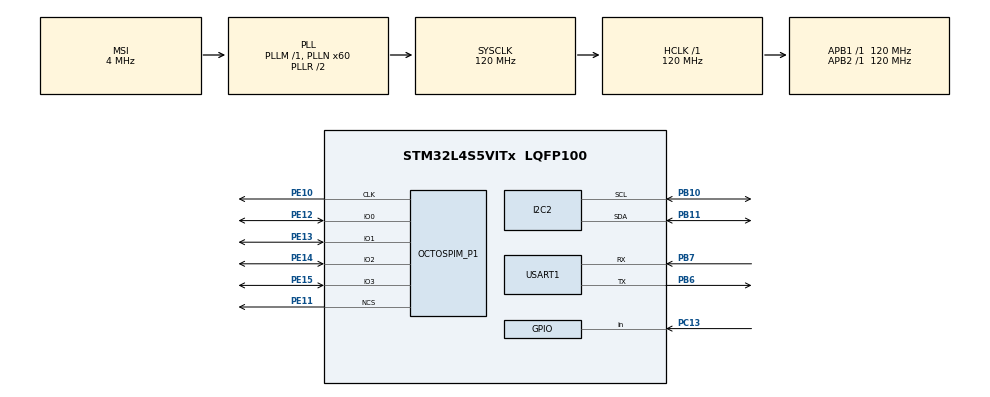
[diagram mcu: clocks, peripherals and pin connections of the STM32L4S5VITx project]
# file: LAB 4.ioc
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FREERTOS.Tasks01=sensorTask,0,128,StartSensorTask,Default,NULL,Dynamic,NULL,NULL;uartTask,0,256,StartUartTask,Default,NULL,Dynamic,NULL,NULL;buttonTask,0,128,StartButtonTask,Default,NULL,Dynamic,NULL,NULL
I2C2.Timing=0x30A175AB
Mcu.Family=STM32L4
Mcu.Name=STM32L4S5VITx
Mcu.Package=LQFP100
NVIC.PriorityGroup=NVIC_PRIORITYGROUP_4
NVIC.TIM6_DAC_IRQn=true\:15\:0\:false\:false\:true\:false\:false\:true\:true
NVIC.TimeBase=TIM6_DAC_IRQn
NVIC.TimeBaseIP=TIM6
PB10.Mode=I2C
PB10.Signal=I2C2_SCL
PB11.Mode=I2C
PB11.Signal=I2C2_SDA
PB6.Mode=Asynchronous
PB6.Signal=USART1_TX
PB7.Mode=Asynchronous
PB7.Signal=USART1_RX
PC13.Signal=GPIO_Input
PE10.Mode=O1_P1_CLK
PE10.Signal=OCTOSPIM_P1_CLK
PE11.Mode=OCTOSPI1_Port1_NCS
PE11.Signal=OCTOSPIM_P1_NCS
PE12.Mode=OCTOSPI1_IOL_Port1L
PE12.Signal=OCTOSPIM_P1_IO0
PE13.Mode=OCTOSPI1_IOL_Port1L
PE13.Signal=OCTOSPIM_P1_IO1
PE14.Mode=OCTOSPI1_IOL_Port1L
PE14.Signal=OCTOSPIM_P1_IO2
PE15.Mode=OCTOSPI1_IOL_Port1L
PE15.Signal=OCTOSPIM_P1_IO3
ProjectManager.HeapSize=0x200
ProjectManager.StackSize=0x400
ProjectManager.TargetToolchain=STM32CubeIDE
RCC.ADCFreq_Value=48000000
RCC.AHBFreq_Value=120000000
RCC.APB1Freq_Value=120000000
RCC.APB1TimFreq_Value=120000000
RCC.APB2Freq_Value=120000000
RCC.APB2TimFreq_Value=120000000
RCC.CortexFreq_Value=120000000
RCC.HCLKFreq_Value=120000000
RCC.HSE_VALUE=8000000
RCC.HSI48_VALUE=48000000
RCC.HSI_VALUE=16000000
RCC.LSE_VALUE=32768
RCC.MSI_VALUE=4000000
RCC.PLLN=60
RCC.PLLSAI1N=24
RCC.SYSCLKFreq_VALUE=120000000
RCC.SYSCLKSource=RCC_SYSCLKSOURCE_PLLCLK
RCC.USBFreq_Value=48000000
RCC.VCOOutputFreq_Value=240000000
USART1.VirtualMode-Asynchronous=VM_ASYNC
VP_FREERTOS_VS_CMSIS_V1.Mode=CMSIS_V1
VP_OCTOSPI1_VS_quad.Mode=quad_mode
VP_SYS_VS_tim6.Mode=TIM6
board=B-L4S5I-IOT01A

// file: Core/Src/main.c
/* USER CODE BEGIN Header */
/**
  ******************************************************************************
  * @file           : main.c
  * @brief          : Main program body
  ******************************************************************************
  * @attention
  *
  * Copyright (c) 2026 STMicroelectronics.
  * All rights reserved.
  *
  * This software is licensed under terms that can be found in the LICENSE file
  * in the root directory of this software component.
  * If no LICENSE file comes with this software, it is provided AS-IS.
  *
  ******************************************************************************
  */
/* USER CODE END Header */
#include "main.h"
#include "cmsis_os.h"
#include "i2c.h"
#include "octospi.h"
#include "usart.h"
#include "gpio.h"

/* USER CODE BEGIN Includes */
#include <stdio.h>
#include <string.h>
#include <stdint.h>

#include "stm32l4s5i_iot01_hsensor.h"
#include "stm32l4s5i_iot01_magneto.h"
#include "stm32l4s5i_iot01_accelero.h"
#include "stm32l4s5i_iot01_psensor.h"
#include "lab4_flash.h"
/* USER CODE END Includes */

/* USER CODE BEGIN PTD */
typedef enum
{
  DISPLAY_HUMIDITY = 0,
  DISPLAY_MAGNETO,
  DISPLAY_ACCELERO,
  DISPLAY_PRESSURE,
  DISPLAY_STATS,
  DISPLAY_COUNT
} DisplayMode_t;

typedef enum
{
  LOG_SENSOR_HUMIDITY = 0,
  LOG_SENSOR_MAGNETO_X,
  LOG_SENSOR_ACCELERO_X,
  LOG_SENSOR_PRESSURE,
  LOG_SENSOR_COUNT
} LoggedSensorId_t;

typedef struct
{
  uint32_t sampleIndex;
  uint32_t sensorId;
  int32_t value;
} LogRecord_t;

typedef struct
{
  uint32_t count;
  int64_t  sum;
  uint64_t sumSq;
  int32_t  mean;
  int32_t  variance;
} SensorStats_t;
/* USER CODE END PTD */

/* USER CODE BEGIN PD */
/* Blue user button B2 on the B-L4S5I-IOT01A board */
#define USER_BUTTON_PORT GPIOC
#define USER_BUTTON_PIN  GPIO_PIN_13

#define PART4_LOG_BUFFER_RECORDS  16U
#define PART4_READ_CHUNK_RECORDS  4U

#ifndef MX25R6435F_BLOCK_SIZE
#define MX25R6435F_BLOCK_SIZE     0x00010000UL
#endif
/* USER CODE END PD */

/* USER CODE BEGIN PV */
/* These variables are shared by the RTOS tasks in Part 2:
 * - sensorTask updates the latest measurements
 * - buttonTask updates which sensor should be displayed
 * - uartTask reads the current selection and prints it */
static char uartBuf[384];

static DisplayMode_t displayMode = DISPLAY_HUMIDITY;

/* One selected quantity from each sensor */
static float humidity_pct = 0.0f;     /* HTS221 */
static int16_t magXYZ[3] = {0};       /* LIS3MDL */
static int16_t accXYZ[3] = {0};       /* LSM6DSL */
static float pressure_hPa = 0.0f;     /* LPS22HB */

static GPIO_PinState lastButtonState = GPIO_PIN_SET;

/* Part 4 logging / statistics state */
static LogRecord_t  s_logBuffer[PART4_LOG_BUFFER_RECORDS];
static LogRecord_t  s_readChunk[PART4_READ_CHUNK_RECORDS];
static uint32_t     s_logBufferCount = 0U;
static uint32_t     s_sampleSequence = 0U;
static uint32_t     s_totalLoggedRecords = 0U;

static uint32_t     s_flashWriteAddress = LAB4_FLASH_LOG_START_ADDRESS;
static uint32_t     s_flashErasedLimitAddress = LAB4_FLASH_LOG_START_ADDRESS;
static uint32_t     s_flashLimitAddress = 0U;
static uint8_t      s_loggingEnabled = 0U;
static uint8_t      s_statsDirty = 1U;

static SensorStats_t s_stats[LOG_SENSOR_COUNT];
/* USER CODE END PV */

void SystemClock_Config(void);
void MX_FREERTOS_Init(void);
/* USER CODE BEGIN PFP */
static Lab4FlashStatus_t Part4_InitLogging(void);
static void Part4_ResetStats(void);
static int32_t Part4_GetHumidityForLog(void);
static int32_t Part4_GetMagnetoXForLog(void);
static int32_t Part4_GetAcceleroXForLog(void);
static int32_t Part4_GetPressureForLog(void);
static void Part4_LogAppendRecord(uint32_t sampleIndex, LoggedSensorId_t sensorId, int32_t value);
static Lab4FlashStatus_t Part4_EnsureLogCapacity(uint32_t bytesNeeded);
static Lab4FlashStatus_t Part4_FlushLogBuffer(void);
static void Part4_LogCurrentSamples(void);
static void Part4_AccumulateRecord(const LogRecord_t *record);
static void Part4_FinalizeStats(void);
static Lab4FlashStatus_t Part4_RecomputeStatsFromFlash(void);
static void Part4_UpdateStatsIfNeeded(void);
/* USER CODE END PFP */

/* USER CODE BEGIN 0 */
static void Part4_ResetStats(void)
{
  uint32_t i;

  for (i = 0U; i < LOG_SENSOR_COUNT; ++i)
  {
    s_stats[i].count = 0U;
    s_stats[i].sum = 0;
    s_stats[i].sumSq = 0U;
    s_stats[i].mean = 0;
    s_stats[i].variance = 0;
  }
}

static Lab4FlashStatus_t Part4_InitLogging(void)
{
  const QSPI_Info *flashInfo;
  Lab4FlashStatus_t status;

  flashInfo = Lab4Flash_GetInfo();
  if (flashInfo == NULL)
  {
    return LAB4_FLASH_STATUS_NOT_INITIALIZED;
  }

  s_flashLimitAddress = flashInfo->FlashSize;
  s_flashWriteAddress = LAB4_FLASH_LOG_START_ADDRESS;
  s_flashErasedLimitAddress = LAB4_FLASH_LOG_START_ADDRESS;
  s_logBufferCount = 0U;
  s_sampleSequence = 0U;
  s_totalLoggedRecords = 0U;
  s_loggingEnabled = 0U;
  s_statsDirty = 1U;

  Part4_ResetStats();

  status = Lab4Flash_EraseBlock(LAB4_FLASH_LOG_START_ADDRESS);
  if (status != LAB4_FLASH_STATUS_OK)
  {
    return status;
  }

  s_flashErasedLimitAddress = LAB4_FLASH_LOG_START_ADDRESS + MX25R6435F_BLOCK_SIZE;
  s_loggingEnabled = 1U;

  return LAB4_FLASH_STATUS_OK;
}

static int32_t Part4_GetHumidityForLog(void)
{
  return (int32_t)humidity_pct;
}

static int32_t Part4_GetMagnetoXForLog(void)
{
  return (int32_t)magXYZ[0];
}

static int32_t Part4_GetAcceleroXForLog(void)
{
  return (int32_t)accXYZ[0];
}

static int32_t Part4_GetPressureForLog(void)
{
  return (int32_t)pressure_hPa;
}

static void Part4_LogAppendRecord(uint32_t sampleIndex, LoggedSensorId_t sensorId, int32_t value)
{
  if ((s_loggingEnabled == 0U) || (s_logBufferCount >= PART4_LOG_BUFFER_RECORDS))
  {
    return;
  }

  s_logBuffer[s_logBufferCount].sampleIndex = sampleIndex;
  s_logBuffer[s_logBufferCount].sensorId = (uint32_t)sensorId;
  s_logBuffer[s_logBufferCount].value = value;
  s_logBufferCount++;
}

static Lab4FlashStatus_t Part4_EnsureLogCapacity(uint32_t bytesNeeded)
{
  Lab4FlashStatus_t status;

  if ((s_flashWriteAddress + bytesNeeded) > s_flashLimitAddress)
  {
    return LAB4_FLASH_STATUS_RANGE_ERROR;
  }

  while ((s_flashWriteAddress + bytesNeeded) > s_flashErasedLimitAddress)
  {
    if (s_flashErasedLimitAddress >= s_flashLimitAddress)
    {
      return LAB4_FLASH_STATUS_RANGE_ERROR;
    }

    status = Lab4Flash_EraseBlock(s_flashErasedLimitAddress);
    if (status != LAB4_FLASH_STATUS_OK)
    {
      return status;
    }

    s_flashErasedLimitAddress += MX25R6435F_BLOCK_SIZE;
  }

  return LAB4_FLASH_STATUS_OK;
}

static Lab4FlashStatus_t Part4_FlushLogBuffer(void)
{
  Lab4FlashStatus_t status;
  uint32_t bytesToWrite;

  if (s_logBufferCount == 0U)
  {
    return LAB4_FLASH_STATUS_OK;
  }

  bytesToWrite = s_logBufferCount * sizeof(LogRecord_t);
  /* REMOVE for demo
  char dbg[96];
  int dbgLen = snprintf(dbg, sizeof(dbg),
                        "[flash] flush count=%lu bytes=%lu addr=0x%06lX\r\n",
                        (unsigned long)s_logBufferCount,
                        (unsigned long)bytesToWrite,
                        (unsigned long)s_flashWriteAddress);
  if (dbgLen > 0)
  {
    HAL_UART_Transmit(&huart1, (uint8_t *)dbg, (uint16_t)dbgLen, 100);
  }
  */

  status = Part4_EnsureLogCapacity(bytesToWrite);
  if (status != LAB4_FLASH_STATUS_OK)
  {
    s_loggingEnabled = 0U;
    return status;
  }

  status = Lab4Flash_Write(s_flashWriteAddress, (const uint8_t *)s_logBuffer, bytesToWrite);
  if (status != LAB4_FLASH_STATUS_OK)
  {
    s_loggingEnabled = 0U;
    return status;
  }

  s_flashWriteAddress += bytesToWrite;
  s_totalLoggedRecords += s_logBufferCount;
  s_logBufferCount = 0U;
  s_statsDirty = 1U;

  return LAB4_FLASH_STATUS_OK;
}

static void Part4_LogCurrentSamples(void)
{
  uint32_t currentSample;

  if (s_loggingEnabled == 0U)
  {
    return;
  }

  currentSample = s_sampleSequence++;
  Part4_LogAppendRecord(currentSample, LOG_SENSOR_HUMIDITY,   Part4_GetHumidityForLog());
  Part4_LogAppendRecord(currentSample, LOG_SENSOR_MAGNETO_X,  Part4_GetMagnetoXForLog());
  Part4_LogAppendRecord(currentSample, LOG_SENSOR_ACCELERO_X, Part4_GetAcceleroXForLog());
  Part4_LogAppendRecord(currentSample, LOG_SENSOR_PRESSURE,   Part4_GetPressureForLog());

  if (s_logBufferCount >= PART4_LOG_BUFFER_RECORDS)
  {
    if (Part4_FlushLogBuffer() != LAB4_FLASH_STATUS_OK)
    {
      Error_Handler();
    }
  }
}

static void Part4_AccumulateRecord(const LogRecord_t *record)
{
  SensorStats_t *stats;
  int64_t value64;

  if ((record == NULL) || (record->sensorId >= LOG_SENSOR_COUNT))
  {
    return;
  }

  stats = &s_stats[record->sensorId];
  value64 = (int64_t)record->value;

  stats->count++;
  stats->sum += value64;
  stats->sumSq += (uint64_t)(value64 * value64);
}

static void Part4_FinalizeStats(void)
{
  uint32_t i;

  for (i = 0U; i < LOG_SENSOR_COUNT; ++i)
  {
    if (s_stats[i].count > 0U)
    {
      int64_t meanSquared;
      int64_t varianceTerm;

      s_stats[i].mean = (int32_t)(s_stats[i].sum / (int64_t)s_stats[i].count);

      meanSquared = (int64_t)s_stats[i].mean * (int64_t)s_stats[i].mean;
      varianceTerm = ((int64_t)(s_stats[i].sumSq / s_stats[i].count)) - meanSquared;

      if (varianceTerm < 0)
      {
        varianceTerm = 0;
      }

      s_stats[i].variance = (int32_t)varianceTerm;
    }
    else
    {
      s_stats[i].mean = 0;
      s_stats[i].variance = 0;
    }
  }
}

static Lab4FlashStatus_t Part4_RecomputeStatsFromFlash(void)
{
  Lab4FlashStatus_t status;
  uint32_t address;
  uint32_t remainingRecords;

  /* REMOVE for demo
  const char *msg = "[stats] recompute start\r\n";
  HAL_UART_Transmit(&huart1, (uint8_t *)msg, (uint16_t)strlen(msg), 100);
  */

  status = Part4_FlushLogBuffer();
  if (status != LAB4_FLASH_STATUS_OK)
  {
    return status;
  }

  Part4_ResetStats();

  address = LAB4_FLASH_LOG_START_ADDRESS;
  remainingRecords = s_totalLoggedRecords;

  while (remainingRecords > 0U)
  {
    uint32_t i;
    uint32_t chunkRecords = (remainingRecords > PART4_READ_CHUNK_RECORDS) ?
                            PART4_READ_CHUNK_RECORDS : remainingRecords;
    uint32_t chunkBytes = chunkRecords * sizeof(LogRecord_t);

    status = Lab4Flash_Read(address, (uint8_t *)s_readChunk, chunkBytes);
    if (status != LAB4_FLASH_STATUS_OK)
    {
      return status;
    }

    for (i = 0U; i < chunkRecords; ++i)
    {
      Part4_AccumulateRecord(&s_readChunk[i]);
    }

    address += chunkBytes;
    remainingRecords -= chunkRecords;
  }

  Part4_FinalizeStats();
  s_statsDirty = 0U;

  /* REMOVE for demo
  const char *msg = "[stats] recompute done\r\n";
  HAL_UART_Transmit(&huart1, (uint8_t *)msg, (uint16_t)strlen(msg), 100);
  */

  return LAB4_FLASH_STATUS_OK;
}

static void Part4_UpdateStatsIfNeeded(void)
{
  if (displayMode == DISPLAY_STATS)
  {
    if ((s_statsDirty != 0U) || (s_logBufferCount > 0U))
    {
      if (Part4_RecomputeStatsFromFlash() != LAB4_FLASH_STATUS_OK)
      {
        Error_Handler();
      }
    }
  }
}

void Sensors_Init(void)
{
  if (BSP_HSENSOR_Init() != 0U)
  {
    Error_Handler();
  }

  if (BSP_MAGNETO_Init() != MAGNETO_OK)
  {
    Error_Handler();
  }

  if (BSP_ACCELERO_Init() != ACCELERO_OK)
  {
    Error_Handler();
  }

  if (BSP_PSENSOR_Init() != 0U)
  {
    Error_Handler();
  }
}

void Sensors_ReadAll(void)
{
  /* CHANGE 5: lightweight heartbeat counter */
  static uint32_t sensorLoopCount = 0U;

  /* HTS221: humidity */
  humidity_pct = BSP_HSENSOR_ReadHumidity();

  /* LIS3MDL: magnetometer X/Y/Z */
  BSP_MAGNETO_GetXYZ(magXYZ);

  /* LSM6DSL: accelerometer X/Y/Z */
  BSP_ACCELERO_AccGetXYZ(accXYZ);

  /* LPS22HB: pressure */
  pressure_hPa = BSP_PSENSOR_ReadPressure();

  /* REMOVE for demo
  sensorLoopCount++;
  if ((sensorLoopCount % 10U) == 0U)
  {
    const char *msg = "[sensorTask] read ok\r\n";
    HAL_UART_Transmit(&huart1, (uint8_t *)msg, (uint16_t)strlen(msg), 100);
  }
  */

  /* Part 4: log all sensor samples, whether displayed or not */
  Part4_LogCurrentSamples();

  /* Only recompute the flash-based statistics when the user is actually in the
   * statistics mode. This keeps the normal live display lightweight. */
  Part4_UpdateStatsIfNeeded();
}

void Handle_Button(void)
{
  GPIO_PinState currentButtonState = HAL_GPIO_ReadPin(USER_BUTTON_PORT, USER_BUTTON_PIN);

  /* B2 is active-low: detect one falling edge per press */
  if ((lastButtonState == GPIO_PIN_SET) && (currentButtonState == GPIO_PIN_RESET))
  {
    displayMode = (DisplayMode_t)((displayMode + 1) % DISPLAY_COUNT);

    /* In Part 2 this function runs inside buttonTask, so we use osDelay()
     * instead of HAL_Delay() to let the scheduler run the other tasks while
     * the switch signal settles. */
    osDelay(20);
    while (HAL_GPIO_ReadPin(USER_BUTTON_PORT, USER_BUTTON_PIN) == GPIO_PIN_RESET)
    {
      osDelay(5);
    }
  }

  lastButtonState = HAL_GPIO_ReadPin(USER_BUTTON_PORT, USER_BUTTON_PIN);
}

void UART_SendSelectedSensor(void)
{
  int len = 0;

  switch (displayMode)
  {
    case DISPLAY_HUMIDITY:
      len = snprintf(uartBuf, sizeof(uartBuf),
                     "HTS221 Humidity = %d %%RH\r\n",
                     (int)humidity_pct);
      break;

    case DISPLAY_MAGNETO:
      len = snprintf(uartBuf, sizeof(uartBuf),
                     "LIS3MDL Mag XYZ = %d, %d, %d\r\n",
                     magXYZ[0], magXYZ[1], magXYZ[2]);
      break;

    case DISPLAY_ACCELERO:
      len = snprintf(uartBuf, sizeof(uartBuf),
                     "LSM6DSL Acc XYZ = %d, %d, %d\r\n",
                     accXYZ[0], accXYZ[1], accXYZ[2]);
      break;

    case DISPLAY_PRESSURE:
      len = snprintf(uartBuf, sizeof(uartBuf),
                     "LPS22HB Pressure = %d hPa\r\n",
                     (int)pressure_hPa);
      break;

    case DISPLAY_STATS:
      if (s_totalLoggedRecords == 0U)
      {
        len = snprintf(uartBuf, sizeof(uartBuf),
                       "Stats: no flash samples logged yet\r\n");
      }
      else if (s_statsDirty != 0U)
      {
        len = snprintf(uartBuf, sizeof(uartBuf),
                       "Stats: computing from flash...\r\n");
      }
      else
      {
        len = snprintf(uartBuf, sizeof(uartBuf),
                       "Flash stats | "
                       "H: N=%lu mean=%ld var=%ld | "
                       "Mx: N=%lu mean=%ld var=%ld | "
                       "Ax: N=%lu mean=%ld var=%ld | "
                       "P: N=%lu mean=%ld var=%ld\r\n",
                       (unsigned long)s_stats[LOG_SENSOR_HUMIDITY].count,
                       (long)s_stats[LOG_SENSOR_HUMIDITY].mean,
                       (long)s_stats[LOG_SENSOR_HUMIDITY].variance,
                       (unsigned long)s_stats[LOG_SENSOR_MAGNETO_X].count,
                       (long)s_stats[LOG_SENSOR_MAGNETO_X].mean,
                       (long)s_stats[LOG_SENSOR_MAGNETO_X].variance,
                       (unsigned long)s_stats[LOG_SENSOR_ACCELERO_X].count,
                       (long)s_stats[LOG_SENSOR_ACCELERO_X].mean,
                       (long)s_stats[LOG_SENSOR_ACCELERO_X].variance,
                       (unsigned long)s_stats[LOG_SENSOR_PRESSURE].count,
                       (long)s_stats[LOG_SENSOR_PRESSURE].mean,
                       (long)s_stats[LOG_SENSOR_PRESSURE].variance);
      }
      break;

    default:
      len = snprintf(uartBuf, sizeof(uartBuf), "Invalid display mode\r\n");
      break;
  }

  if (len > 0)
  {
    HAL_UART_Transmit(&huart1, (uint8_t *)uartBuf, (uint16_t)len, 100);
  }
}

/* USER CODE END 0 */

int main(void)
{

  /* MCU Configuration--------------------------------------------------------*/

  /* Reset of all peripherals, Initializes the Flash interface and the Systick. */
  HAL_Init();

  /* Configure the system clock */
  SystemClock_Config();

  /* Initialize all configured peripherals */
  MX_GPIO_Init();
  MX_I2C2_Init();
  MX_USART1_UART_Init();
  MX_OCTOSPI1_Init();
  /* USER CODE BEGIN 2 */
  const char *msg = "UART alive\r\n";
    HAL_UART_Transmit(&huart1, (uint8_t*)msg, strlen(msg), 100);

    if (Lab4Flash_Init() != LAB4_FLASH_STATUS_OK)
    {
      const char *flashInitError = "QSPI init failed\r\n";
      HAL_UART_Transmit(&huart1, (uint8_t *)flashInitError, (uint16_t)strlen(flashInitError), 100);
      Error_Handler();
    }

    if (Lab4Flash_RunSelfTest() != LAB4_FLASH_STATUS_OK)
    {
      const char *flashTestError = "QSPI erase/write/read test failed\r\n";
      HAL_UART_Transmit(&huart1, (uint8_t *)flashTestError, (uint16_t)strlen(flashTestError), 100);
      Error_Handler();
    }
    else
    {
      const QSPI_Info *flashInfo = Lab4Flash_GetInfo();
      char flashReadyMsg[96];
      int flashReadyLen = snprintf(flashReadyMsg, sizeof(flashReadyMsg),
                                   "QSPI ready. Flash=%luB, page=%luB, log start=0x%06lX\r\n",
                                   (unsigned long)flashInfo->FlashSize,
                                   (unsigned long)flashInfo->ProgPageSize,
                                   (unsigned long)LAB4_FLASH_LOG_START_ADDRESS);

      if (flashReadyLen > 0)
      {
        HAL_UART_Transmit(&huart1, (uint8_t *)flashReadyMsg, (uint16_t)flashReadyLen, 100);
      }
    }

    if (Part4_InitLogging() != LAB4_FLASH_STATUS_OK)
    {
      const char *flashLogError = "Part 4 log region init failed\r\n";
      HAL_UART_Transmit(&huart1, (uint8_t *)flashLogError, (uint16_t)strlen(flashLogError), 100);
      Error_Handler();
    }

    Sensors_Init();

    {
      const char *startupMsg =
          "\r\nFreeRTOS + QSPI startup OK. Press B2 to cycle sensors and flash stats.\r\n";
      HAL_UART_Transmit(&huart1, (uint8_t *)startupMsg, (uint16_t)strlen(startupMsg), 100);
    }
  /* USER CODE END 2 */

  /* Call init function for freertos objects (in cmsis_os2.c) */
  MX_FREERTOS_Init();

  /* Start scheduler */
  osKernelStart();

  /* We should never get here as control is now taken by the scheduler */

  /* Infinite loop */
  /* USER CODE BEGIN WHILE */
  while (1)
  {
    /* After osKernelStart(), application flow is owned by the RTOS scheduler.
     * Reaching this loop would mean the scheduler did not take control. */
    /* USER CODE END WHILE */

  }
}

void SystemClock_Config(void)
{
  RCC_OscInitTypeDef RCC_OscInitStruct = {0};
  RCC_ClkInitTypeDef RCC_ClkInitStruct = {0};

  /** Configure the main internal regulator output voltage
  */
  if (HAL_PWREx_ControlVoltageScaling(PWR_REGULATOR_VOLTAGE_SCALE1_BOOST) != HAL_OK)
  {
    Error_Handler();
  }

  /** Initializes the RCC Oscillators according to the specified parameters
  * in the RCC_OscInitTypeDef structure.
  */
  RCC_OscInitStruct.OscillatorType = RCC_OSCILLATORTYPE_MSI;
  RCC_OscInitStruct.MSIState = RCC_MSI_ON;
  RCC_OscInitStruct.MSICalibrationValue = 0;
  RCC_OscInitStruct.MSIClockRange = RCC_MSIRANGE_6;
  RCC_OscInitStruct.PLL.PLLState = RCC_PLL_ON;
  RCC_OscInitStruct.PLL.PLLSource = RCC_PLLSOURCE_MSI;
  RCC_OscInitStruct.PLL.PLLM = 1;
  RCC_OscInitStruct.PLL.PLLN = 60;
  RCC_OscInitStruct.PLL.PLLP = RCC_PLLP_DIV2;
  RCC_OscInitStruct.PLL.PLLQ = RCC_PLLQ_DIV2;
  RCC_OscInitStruct.PLL.PLLR = RCC_PLLR_DIV2;
  if (HAL_RCC_OscConfig(&RCC_OscInitStruct) != HAL_OK)
  {
    Error_Handler();
  }

  /** Initializes the CPU, AHB and APB buses clocks
  */
  RCC_ClkInitStruct.ClockType = RCC_CLOCKTYPE_HCLK|RCC_CLOCKTYPE_SYSCLK
                              |RCC_CLOCKTYPE_PCLK1|RCC_CLOCKTYPE_PCLK2;
  RCC_ClkInitStruct.SYSCLKSource = RCC_SYSCLKSOURCE_PLLCLK;
  RCC_ClkInitStruct.AHBCLKDivider = RCC_SYSCLK_DIV1;
  RCC_ClkInitStruct.APB1CLKDivider = RCC_HCLK_DIV1;
  RCC_ClkInitStruct.APB2CLKDivider = RCC_HCLK_DIV1;

  if (HAL_RCC_ClockConfig(&RCC_ClkInitStruct, FLASH_LATENCY_5) != HAL_OK)
  {
    Error_Handler();
  }
}

void HAL_TIM_PeriodElapsedCallback(TIM_HandleTypeDef *htim)
{
  if (htim->Instance == TIM6)
  {
    HAL_IncTick();
  }
}

void Error_Handler(void)
{
  __disable_irq();
  while (1)
  {
  }
}

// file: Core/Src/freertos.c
/* USER CODE BEGIN Header */
/**
  ******************************************************************************
  * File Name          : freertos.c
  * Description        : Code for freertos applications
  ******************************************************************************
  * @attention
  *
  * Copyright (c) 2026 STMicroelectronics.
  * All rights reserved.
  *
  * This software is licensed under terms that can be found in the LICENSE file
  * in the root directory of this software component.
  * If no LICENSE file comes with this software, it is provided AS-IS.
  *
  ******************************************************************************
  */
/* USER CODE END Header */

#include "FreeRTOS.h"
#include "task.h"
#include "main.h"
#include "cmsis_os.h"

/* USER CODE BEGIN Includes */
#include "usart.h"
#include <string.h>
#include <stdio.h>
/* USER CODE END Includes */

/* USER CODE BEGIN PD */
/* These delays control how often each Part 2 task wakes up. All three tasks
 * use the same priority, so osDelay() is what spaces their execution out. */
#define SENSOR_TASK_PERIOD_MS  100U
#define UART_TASK_PERIOD_MS    100U
#define BUTTON_TASK_PERIOD_MS   20U

/* USER CODE END PD */

/* USER CODE BEGIN Variables */
static uint32_t g_sensorTaskLoops = 0U;
static uint32_t g_uartTaskLoops   = 0U;
static uint32_t g_buttonTaskLoops = 0U;
/* USER CODE END Variables */
osThreadId sensorTaskHandle;
osThreadId uartTaskHandle;
osThreadId buttonTaskHandle;

/* USER CODE BEGIN FunctionPrototypes */
static void DebugPrint(const char *msg);
/* USER CODE END FunctionPrototypes */

void StartSensorTask(void const * argument);
void StartUartTask(void const * argument);
void StartButtonTask(void const * argument);

void MX_FREERTOS_Init(void); /* (MISRA C 2004 rule 8.1) */

/* GetIdleTaskMemory prototype (linked to static allocation support) */
void vApplicationGetIdleTaskMemory( StaticTask_t **ppxIdleTaskTCBBuffer, StackType_t **ppxIdleTaskStackBuffer, uint32_t *pulIdleTaskStackSize );

/* USER CODE BEGIN GET_IDLE_TASK_MEMORY */
static StaticTask_t xIdleTaskTCBBuffer;
static StackType_t xIdleStack[configMINIMAL_STACK_SIZE];

void vApplicationGetIdleTaskMemory( StaticTask_t **ppxIdleTaskTCBBuffer, StackType_t **ppxIdleTaskStackBuffer, uint32_t *pulIdleTaskStackSize )
{
  *ppxIdleTaskTCBBuffer = &xIdleTaskTCBBuffer;
  *ppxIdleTaskStackBuffer = &xIdleStack[0];
  *pulIdleTaskStackSize = configMINIMAL_STACK_SIZE;
  /* place for user code */
}
/* USER CODE END GET_IDLE_TASK_MEMORY */

void MX_FREERTOS_Init(void) {
  /* USER CODE BEGIN Init */
	 DebugPrint("[RTOS] creating tasks\r\n");
  /* USER CODE END Init */

	  /* Create the thread(s) */
	  /* definition and creation of sensorTask */
	  osThreadDef(sensorTask, StartSensorTask, osPriorityNormal, 0, 384);
	  sensorTaskHandle = osThreadCreate(osThread(sensorTask), NULL);

	  if (sensorTaskHandle == NULL)
	  {
	    DebugPrint("[RTOS] sensorTask create FAILED\r\n");
	  }
	  else
	  {
	    DebugPrint("[RTOS] sensorTask create OK\r\n");
	  }

	  /* definition and creation of uartTask */
	  osThreadDef(uartTask, StartUartTask, osPriorityNormal, 0, 128);
	  uartTaskHandle = osThreadCreate(osThread(uartTask), NULL);

	  if (uartTaskHandle == NULL)
	  {
	    DebugPrint("[RTOS] uartTask create FAILED\r\n");
	  }
	  else
	  {
	    DebugPrint("[RTOS] uartTask create OK\r\n");
	  }

	  /* definition and creation of buttonTask */
	  osThreadDef(buttonTask, StartButtonTask, osPriorityNormal, 0, 128);
	  buttonTaskHandle = osThreadCreate(osThread(buttonTask), NULL);

	  if (buttonTaskHandle == NULL)
	  {
	    DebugPrint("[RTOS] buttonTask create FAILED\r\n");
	  }
	  else
	  {
	    DebugPrint("[RTOS] buttonTask create OK\r\n");
	  }

}

void StartSensorTask(void const * argument)
{
  /* USER CODE BEGIN StartSensorTask */
	DebugPrint("[sensorTask] started\r\n");
  /* This task is responsible only for refreshing the latest sensor values.
   * The UART task and button task then use that shared state. */
  for(;;)
  {
    /* Keep the delay near the top of the loop. This yields the CPU back to the
     * scheduler so the other ready tasks can run before the next sample. */
    osDelay(SENSOR_TASK_PERIOD_MS);
    Sensors_ReadAll();
    g_sensorTaskLoops++;
    }
  /* USER CODE END StartSensorTask */
}

void StartUartTask(void const * argument)
{
  /* USER CODE BEGIN StartUartTask */
	DebugPrint("[uartTask] started\r\n");
  /* This task formats and transmits the currently selected sensor value.
   * Keeping UART output in its own task makes it easier to change the print
   * rate without touching sensor acquisition or button handling. */
  for(;;)
  {
    osDelay(UART_TASK_PERIOD_MS);
    UART_SendSelectedSensor();
    g_uartTaskLoops++;
  }
  /* USER CODE END StartUartTask */
}

void StartButtonTask(void const * argument)
{
  /* USER CODE BEGIN StartButtonTask */
	DebugPrint("[buttonTask] started\r\n");
  /* This task polls the blue pushbutton and advances the display mode.
   * Handle_Button() contains the debounce logic so one press changes mode once. */
  for(;;)
  {
    osDelay(BUTTON_TASK_PERIOD_MS);
    Handle_Button();
    g_buttonTaskLoops++;
  }
  /* USER CODE END StartButtonTask */
}

/* USER CODE BEGIN Application */
static void DebugPrint(const char *msg)
{
  if (msg != NULL)
  {
    HAL_UART_Transmit(&huart1, (uint8_t *)msg, (uint16_t)strlen(msg), 100);
  }
}
/* USER CODE END Application */
